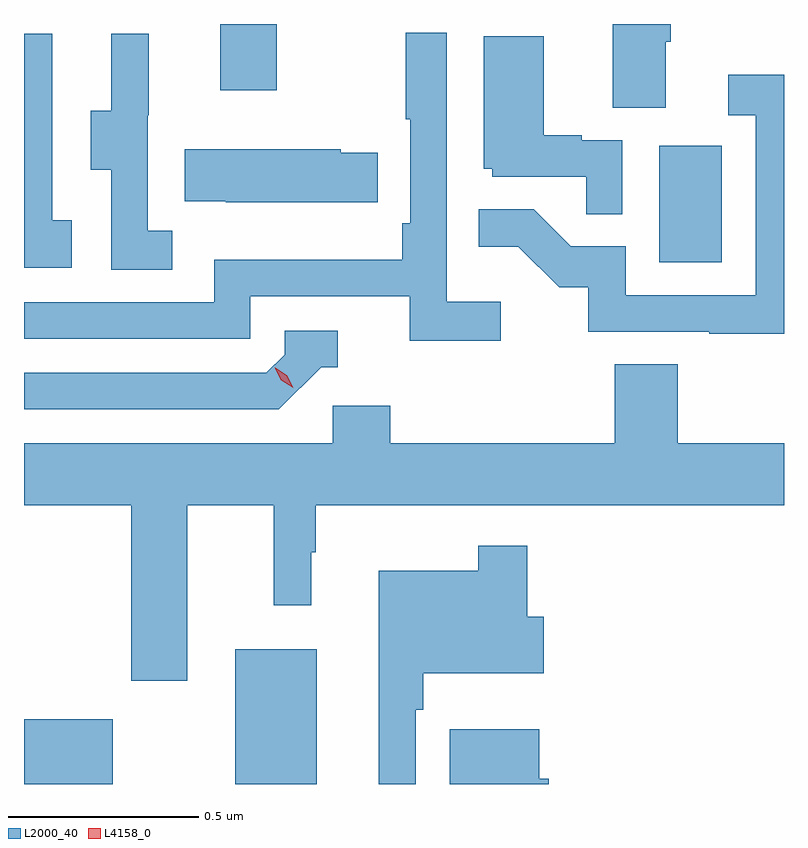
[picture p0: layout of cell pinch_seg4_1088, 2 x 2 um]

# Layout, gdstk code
import gdstk
lib = gdstk.Library(unit=1e-6, precision=1e-09)
def R(c, l, rs):  # rectangles x0, y0, x1, y1
    for r in rs: c.add(gdstk.rectangle(r[:2], r[2:], *l))
def P(c, l, *ps):  # polygons
    for p in ps: c.add(gdstk.Polygon(p, *l))
L2000_40 = (2000, 40)
L4158_0 = (4158, 0)

pinch_seg4_1088 = lib.new_cell('pinch_seg4_1088')
R(pinch_seg4_1088, L2000_40, [(852.556,766.783,852.79,766.954), (853.112,766.783,853.327,767.137), (854.228,768.156,854.392,768.463), (853.073,768.609,853.221,768.783)])
P(pinch_seg4_1088, L2000_40, [(854.245,768.736),(854.258,768.736),(854.258,768.783),(854.105,768.783),(854.105,768.562),(854.245,768.562)],
  [(853.81,768.052),(853.668,768.052),(853.668,768.76),(853.56,768.76),(853.56,768.532),(853.572,768.532),(853.572,768.259),(853.552,768.259),(853.552,768.163),(853.056,768.163),(853.056,768.051),(852.556,768.051),(852.556,767.955),(853.152,767.955),(853.152,768.066),(853.571,768.066),(853.571,767.95),(853.81,767.95)],
  [(852.946,768.239),(852.882,768.239),(852.882,768.543),(852.884,768.543),(852.884,768.757),(852.785,768.757),(852.785,768.555),(852.731,768.555),(852.731,768.4),(852.786,768.4),(852.786,768.136),(852.946,768.136)],
  [(852.682,768.266),(852.63,768.266),(852.63,768.757),(852.556,768.757),(852.556,768.141),(852.682,768.141)],
  [(854.13,768.477),(854.024,768.477),(854.024,768.49),(853.924,768.49),(853.924,768.751),(853.766,768.751),(853.766,768.402),(853.788,768.402),(853.788,768.381),(854.035,768.381),(854.035,768.283),(854.13,768.283)],
  [(854.556,768.649),(854.409,768.649),(854.409,768.543),(854.481,768.543),(854.481,768.069),(854.139,768.069),(854.139,768.198),(853.995,768.198),(853.897,768.296),(853.753,768.296),(853.753,768.197),(853.857,768.197),(853.964,768.09),(854.041,768.09),(854.041,767.973),(854.359,767.973),(854.359,767.968),(854.556,767.968)],
  [(853.487,768.444),(853.389,768.444),(853.389,768.454),(852.979,768.454),(852.979,768.317),(853.087,768.317),(853.087,768.314),(853.487,768.314)],
  [(853.338,767.88),(853.381,767.88),(853.381,767.976),(853.242,767.976),(853.242,767.913),(853.194,767.865),(852.556,767.865),(852.556,767.769),(853.227,767.769)],
  [(852.985,767.516),(853.213,767.516),(853.213,767.253),(853.312,767.253),(853.312,767.393),(853.324,767.393),(853.324,767.516),(854.556,767.516),(854.556,767.68),(854.276,767.68),(854.276,767.888),(854.111,767.888),(854.111,767.68),(853.52,767.68),(853.52,767.778),(853.368,767.778),(853.368,767.68),(852.556,767.68),(852.556,767.516),(852.838,767.516),(852.838,767.055),(852.985,767.055)],
  [(853.587,766.979),(853.607,766.979),(853.607,767.075),(853.924,767.075),(853.924,767.223),(853.88,767.223),(853.88,767.41),(853.752,767.41),(853.752,767.344),(853.49,767.344),(853.49,766.783),(853.587,766.783)],
  [(853.937,766.797),(853.912,766.797),(853.912,766.927),(853.676,766.927),(853.676,766.783),(853.937,766.783)])
P(pinch_seg4_1088, L4158_0, [(853.264,767.826),(853.233,767.845),(853.216,767.878),(853.216,767.878),(853.217,767.878),(853.248,767.859),(853.264,767.826),(853.264,767.826)])

lib.write_gds('pinch_seg4_1088.gds')
